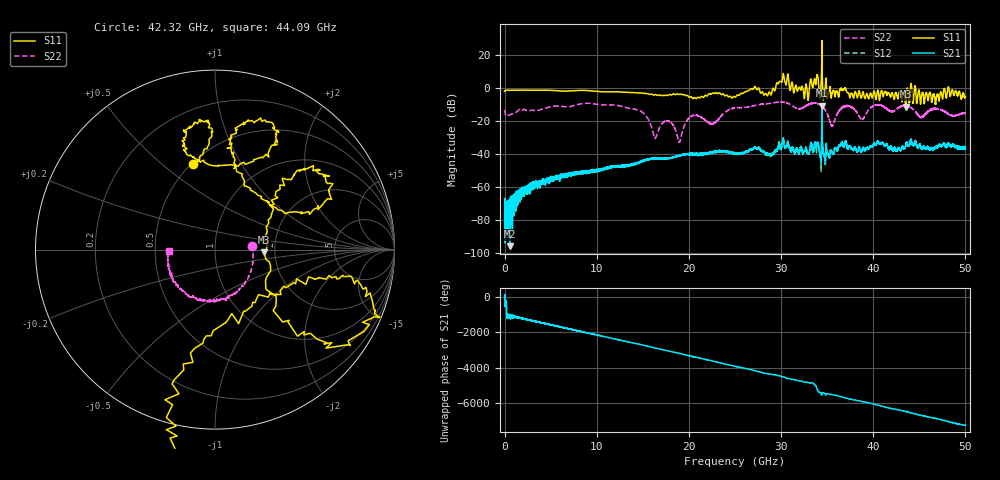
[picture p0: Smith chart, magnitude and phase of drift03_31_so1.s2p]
!Created with skrf (http://scikit-rf.org).
# Hz S RI R 50.0
!freq ReS11 ImS11 ReS21 ImS21 ReS12 ImS12 ReS22 ImS22
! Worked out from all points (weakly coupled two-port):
!   10000 points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, 5.3 MHz to 50 GHz, reference 50 ohm
!   highest |S21| = -10.70 dB at 34.43 GHz (marker M1); lowest = -95.7 dB at 610.3 MHz (marker M2)
!   lowest |S11| = -11.2 dB at 43.53 GHz (marker M3), VSWR 1.76, Z = 87.7 - j2.86 ohm
!   |S11| at or under -10 dB: 43.4941 GHz to 43.53792 GHz (43.81 MHz wide, 0.101 % of centre); 46.74981 GHz to 46.75018 GHz (377.4 kHz wide, 0.000807 % of centre)
!   |S22| runs from -33.0 to -8.4 dB; largest |S21 - S12| = 0.085
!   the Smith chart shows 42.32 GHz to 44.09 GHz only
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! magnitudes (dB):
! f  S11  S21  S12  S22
! 5.3 MHz  -2.1  -75.3  -70.0  -13.3
! 610.3 MHz  -1.4  -95.7  -74.5  -16.2
! 3.005 GHz  -1.4  -60.9  -59.2  -13.4
! 8.34 GHz  -1.5  -51.6  -51.4  -9.5
! 14.55 GHz  -3.1  -45.1  -45.3  -13.5
! 16.67 GHz  -4.4  -42.9  -42.8  -26.0
! 17.81 GHz  -4.2  -42.6  -42.6  -20.1
! 18.98 GHz  -3.9  -41.1  -40.9  -32.9
! 20.28 GHz  -5.5  -40.3  -40.2  -17.1
! 22.57 GHz  -3.1  -39.4  -38.9  -21.7
! 25.01 GHz  -5.5  -40.0  -39.7  -12.1
! 28.72 GHz  -2.5  -40.8  -40.5  -9.4
! 30.14 GHz  4.4  -33.9  -34.2  -8.5
! 32.74 GHz  2.0  -36.8  -36.2  -10.6
! 33.34 GHz  2.6  -34.8  -35.3  -9.4
! 34.43 GHz  28.7  -10.7  -12.4  -10.9
! 35.53 GHz  -3.3  -38.6  -38.9  -23.1
! 36.95 GHz  0.1  -33.3  -32.9  -11.0
! 38.76 GHz  -5.4  -38.2  -38.2  -19.0
! 41.67 GHz  -3.0  -37.0  -36.7  -13.3
! 43.53 GHz  -11.2  -35.0  -34.9  -10.6
! 50 GHz  -5.3  -37.0  -36.0  -15.5
